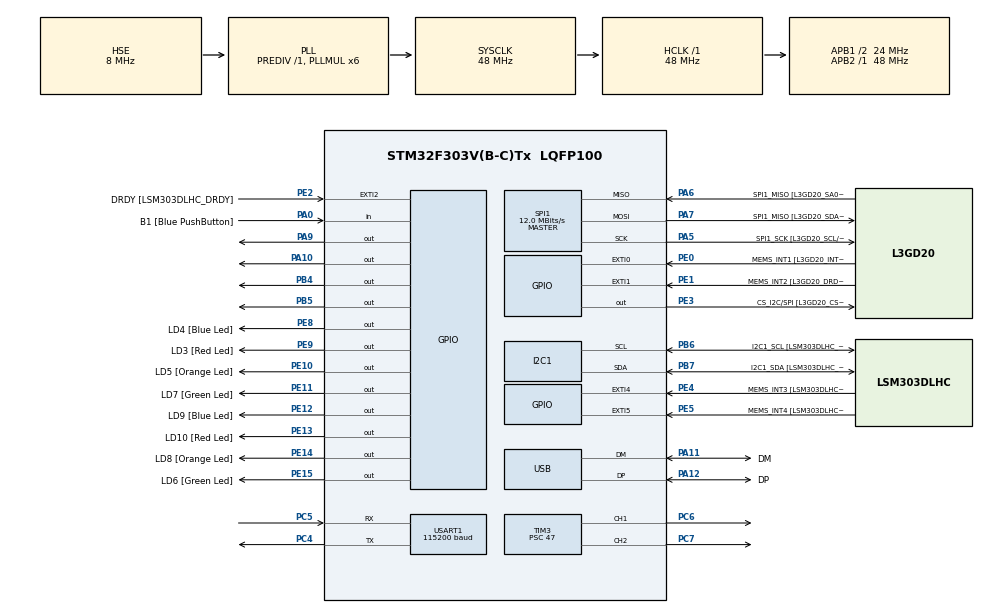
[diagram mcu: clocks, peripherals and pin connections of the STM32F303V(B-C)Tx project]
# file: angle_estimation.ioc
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I2C1.Timing=0x00201D2B
I2C1.Timing-I2C=0x2000090E
Mcu.Family=STM32F3
Mcu.Name=STM32F303V(B-C)Tx
Mcu.Package=LQFP100
NVIC.PriorityGroup=NVIC_PRIORITYGROUP_0
NVIC.TIM2_IRQn=true\:0\:0\:false\:false\:true\:true\:true\:true
PA0.GPIO_Label=B1 [Blue PushButton]
PA0.Signal=GPIO_Input
PA10.Signal=GPIO_Output
PA11.GPIO_Label=DM
PA11.Mode=Device
PA11.Signal=USB_DM
PA12.GPIO_Label=DP
PA12.Mode=Device
PA12.Signal=USB_DP
PA13.GPIO_Label=SWDIO
PA13.Mode=Serial_Wire
PA13.Signal=SYS_JTMS-SWDIO
PA14.GPIO_Label=SWCLK
PA14.Mode=Serial_Wire
PA14.Signal=SYS_JTCK-SWCLK
PA5.GPIO_Label=SPI1_SCK [L3GD20_SCL/SPC]
PA5.Mode=Full_Duplex_Master
PA5.Signal=SPI1_SCK
PA6.GPIO_Label=SPI1_MISO [L3GD20_SA0/SDO]
PA6.Mode=Full_Duplex_Master
PA6.Signal=SPI1_MISO
PA7.GPIO_Label=SPI1_MISO [L3GD20_SDA/SDI/SDO]
PA7.Mode=Full_Duplex_Master
PA7.Signal=SPI1_MOSI
PA9.Signal=GPIO_Output
PB3.GPIO_Label=SWO
PB3.Signal=SYS_JTDO-TRACESWO
PB4.Signal=GPIO_Output
PB5.Signal=GPIO_Output
PB6.GPIO_Label=I2C1_SCL [LSM303DLHC_SCL]
PB6.GPIO_Pu=GPIO_PULLUP
PB6.Mode=I2C
PB6.Signal=I2C1_SCL
PB7.GPIO_Label=I2C1_SDA [LSM303DLHC_SDA]
PB7.GPIO_Pu=GPIO_PULLUP
PB7.Mode=I2C
PB7.Signal=I2C1_SDA
PC14-OSC32_IN.GPIO_Label=OSC32_IN
PC14-OSC32_IN.Signal=RCC_OSC32_IN
PC15-OSC32_OUT.GPIO_Label=OSC32_OUT
PC15-OSC32_OUT.Signal=RCC_OSC32_OUT
PC4.Mode=Asynchronous
PC4.Signal=USART1_TX
PC5.Mode=Asynchronous
PC5.Signal=USART1_RX
PC6.Signal=S_TIM3_CH1
PC7.Signal=S_TIM3_CH2
PE0.GPIO_Label=MEMS_INT1 [L3GD20_INT1]
PE0.GPIO_ModeDefaultEXTI=GPIO_MODE_EVT_RISING
PE0.Signal=GPXTI0
PE1.GPIO_Label=MEMS_INT2 [L3GD20_DRDY/INT2]
PE1.GPIO_ModeDefaultEXTI=GPIO_MODE_EVT_RISING
PE1.Signal=GPXTI1
PE10.GPIO_Label=LD5 [Orange Led]
PE10.Signal=GPIO_Output
PE11.GPIO_Label=LD7 [Green Led]
PE11.Signal=GPIO_Output
PE12.GPIO_Label=LD9 [Blue Led]
PE12.Signal=GPIO_Output
PE13.GPIO_Label=LD10 [Red Led]
PE13.Signal=GPIO_Output
PE14.GPIO_Label=LD8 [Orange Led]
PE14.Signal=GPIO_Output
PE15.GPIO_Label=LD6 [Green Led]
PE15.Signal=GPIO_Output
PE2.GPIO_Label=DRDY [LSM303DLHC_DRDY]
PE2.GPIO_ModeDefaultEXTI=GPIO_MODE_EVT_RISING
PE2.Signal=GPXTI2
PE3.GPIO_Label=CS_I2C/SPI [L3GD20_CS_I2C/SPI]
PE3.Signal=GPIO_Output
PE4.GPIO_Label=MEMS_INT3 [LSM303DLHC_INT1]
PE4.GPIO_ModeDefaultEXTI=GPIO_MODE_EVT_RISING
PE4.Signal=GPXTI4
PE5.GPIO_Label=MEMS_INT4 [LSM303DLHC_INT2]
PE5.GPIO_ModeDefaultEXTI=GPIO_MODE_EVT_RISING
PE5.Signal=GPXTI5
PE8.GPIO_Label=LD4 [Blue Led]
PE8.Signal=GPIO_Output
PE9.GPIO_Label=LD3 [Red Led]
PE9.Signal=GPIO_Output
PF0-OSC_IN.GPIO_Label=OSC_IN
PF0-OSC_IN.Mode=HSE-External-Clock-Source
PF0-OSC_IN.Signal=RCC_OSC_IN
PF1-OSC_OUT.GPIO_Label=OSC_OUT
PF1-OSC_OUT.Signal=RCC_OSC_OUT
ProjectManager.HeapSize=0x200
ProjectManager.StackSize=0x400
ProjectManager.TargetToolchain=CMake
RCC.AHBFreq_Value=48000000
RCC.APB1CLKDivider=RCC_HCLK_DIV2
RCC.APB1Freq_Value=24000000
RCC.APB1TimFreq_Value=48000000
RCC.APB2Freq_Value=48000000
RCC.APB2TimFreq_Value=48000000
RCC.CortexFreq_Value=48000000
RCC.HCLKFreq_Value=48000000
RCC.HSE_VALUE=8000000
RCC.HSI_VALUE=8000000
RCC.LSE_VALUE=32768
RCC.PLLMUL=RCC_PLL_MUL6
RCC.SYSCLKFreq_VALUE=48000000
RCC.SYSCLKSourceVirtual=RCC_SYSCLKSOURCE_PLLCLK
RCC.USBFreq_Value=48000000
SH.S_TIM3_CH1.0=TIM3_CH1,PWM Generation1 CH1
SH.S_TIM3_CH2.0=TIM3_CH2,PWM Generation2 CH2
SPI1.BaudRatePrescaler=SPI_BAUDRATEPRESCALER_4
SPI1.BaudRatePrescaler-Full_Duplex_Master=SPI_BAUDRATEPRESCALER_2
SPI1.CalculateBaudRate=12.0 MBits/s
SPI1.CalculateBaudRate-Full_Duplex_Master=24.0 MBits/s
SPI1.Direction=SPI_DIRECTION_2LINES
SPI1.Mode=SPI_MODE_MASTER
SPI1.Mode-Full_Duplex_Master=SPI_MODE_MASTER
SPI1.VirtualType=VM_MASTER
TIM2.Period=99
TIM2.Prescaler=4799
TIM3.Channel-PWM\ Generation1\ CH1=TIM_CHANNEL_1
TIM3.Channel-PWM\ Generation2\ CH2=TIM_CHANNEL_2
TIM3.Period=999
TIM3.Prescaler=47
USART1.BaudRate=115200
USART1.VirtualMode-Asynchronous=VM_ASYNC
VP_TIM2_VS_ClockSourceINT.Mode=Internal
board=STM32F3DISCOVERY

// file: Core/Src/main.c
///////////////////

/* USER CODE BEGIN Header */
/**
  ******************************************************************************
  * @file           : main.c
  * @brief          : Main program body
  ******************************************************************************
  * @attention
  *
  * Copyright (c) 2025 STMicroelectronics.
  * All rights reserved.
  *
  * This software is licensed under terms that can be found in the LICENSE file
  * in the root directory of this software component.
  * If no LICENSE file comes with this software, it is provided AS-IS.
  *
  ******************************************************************************
  */
/* USER CODE END Header */
#include "main.h"
#include "stm32f3xx_hal_spi.h"
#include <stdio.h>
#include <math.h>
#include <string.h>
#ifndef M_PI
#define M_PI 3.14159265358979323846f
#endif

I2C_HandleTypeDef hi2c1;

SPI_HandleTypeDef hspi1;

TIM_HandleTypeDef htim2;
TIM_HandleTypeDef htim3;

UART_HandleTypeDef huart1;

PCD_HandleTypeDef hpcd_USB_FS;

/* USER CODE BEGIN PV */
#define LSM_A_ADDR_W   (0x32)   // write address (8-bit as per your note)
#define LSM_A_ADDR_R   (0x33)   // read address (8-bit)
#define LSM_A_CTRL1    0x20
#define LSM_A_CTRL4    0x23
#define LSM_A_OUT_X_L  0x28
#define LSM_A_AUTO_INC 0x80
#define LSM_A_G_PER_LSB 0.0039f  // 3.9 mg/LSB

#define GYRO_REG_WHOAMI   0x0F
#define GYRO_REG_CTRL1    0x20
#define GYRO_REG_CTRL4    0x23
#define GYRO_REG_OUT_X_L  0x28
#define GYRO_SPI_READ     0x80
#define GYRO_SPI_AUTO_INC 0x40
#define GYRO_CS_LOW()   HAL_GPIO_WritePin(GPIOE, CS_I2C_SPI_Pin, GPIO_PIN_RESET)
#define GYRO_CS_HIGH()  HAL_GPIO_WritePin(GPIOE, CS_I2C_SPI_Pin, GPIO_PIN_SET)

#define GYRO_CS_LOW()    HAL_GPIO_WritePin(GPIOE, CS_I2C_SPI_Pin, GPIO_PIN_RESET)
#define GYRO_CS_HIGH()   HAL_GPIO_WritePin(GPIOE, CS_I2C_SPI_Pin, GPIO_PIN_SET)

#define GYRO_REG_CTRL1   0x20
#define GYRO_REG_CTRL3   0x22
#define GYRO_REG_CTRL4   0x23
#define GYRO_REG_OUT_X_L 0x28
#define GYRO_SPI_READ     0x80
#define GYRO_SPI_AUTO_INC 0x40
#define GYRO_SENS_245DPS 0.00875f
/* ===== FILTER + PID GLOBALS ===== */
#define DT 0.01f       // 100 Hz loop
#define ALPHA 0.98f    // complementary filter coefficient

float angle_filtered = 0.0f;
float accel_angle = 0.0f;
float gyro_rate = 0.0f;

/* PID gains */
float Kp = 12.0f;
float Ki = 0.35f;
float Kd = 0.8f;

float pid_integral = 0.0f;
float last_error = 0.0f;

float setpoint = 0.5f;   // robot upright position
// Motor pins (your wiring)
#define MOTOR_IN1_GPIO_PORT   GPIOA   // D8 -> PA9
#define MOTOR_IN1_PIN         GPIO_PIN_9

#define MOTOR_IN2_GPIO_PORT   GPIOA   // D12 -> PA10
#define MOTOR_IN2_PIN         GPIO_PIN_10

#define MOTOR_EN_GPIO_PORT    GPIOC   // D10 -> PC6
#define MOTOR_EN_PIN          GPIO_PIN_6

#define MOTOR2_IN1_GPIO_PORT  GPIOB   // D7 -> PB4
#define MOTOR2_IN1_PIN        GPIO_PIN_4
#define MOTOR2_IN2_GPIO_PORT  GPIOB   // D6 -> PB5
#define MOTOR2_IN2_PIN        GPIO_PIN_5
#define MOTOR2_EN_GPIO_PORT   GPIOC   // D9 -> PC7 (TIM3_CH2)
#define MOTOR2_EN_PIN         GPIO_PIN_7

/* simple accel structure */
typedef struct { float ax, ay, az; } accel_t;

accel_t accel_data;
/* USER CODE BEGIN PV */
volatile uint8_t uart_flag = 0;   // Flag set by timer ISR
volatile uint8_t counter = 0;     // Counts timer interrupts
/* USER CODE END PV */

void SystemClock_Config(void);
static void MX_GPIO_Init(void);
static void MX_I2C1_Init(void);
static void MX_SPI1_Init(void);
static void MX_TIM2_Init(void);
static void MX_USART1_UART_Init(void);
static void MX_USB_PCD_Init(void);
static void MX_TIM3_Init(void);
/* USER CODE BEGIN PFP */
HAL_StatusTypeDef LSM_Accel_Init(void);
HAL_StatusTypeDef LSM_Accel_Read(accel_t *m);

// gyro prototypes
uint8_t gyro_read_u8(uint8_t reg);
void gyro_write_u8(uint8_t reg, uint8_t val);
void gyro_init_basic(void);
void motor_forward(void);
void motor_backward(void);
void motor_stop(void);

/* USER CODE END PFP */

int main(void)
{

  /* USER CODE BEGIN 1 */
  // setpoint = angle_filtered;   // set curren                                                  t angle as zero

  /* USER CODE END 1 */

  /* MCU Configuration--------------------------------------------------------*/

  /* Reset of all peripherals, Initializes the Flash interface and the Systick. */
              HAL_Init();

  /* Configure the system clock */
  SystemClock_Config();

  /* Initialize all configured peripherals */
  MX_GPIO_Init();
  MX_I2C1_Init();
  MX_SPI1_Init();
  MX_TIM2_Init();
  MX_USART1_UART_Init();
  MX_USB_PCD_Init();
  MX_TIM3_Init();
  /* USER CODE BEGIN 2 */
  HAL_TIM_PWM_Start(&htim3, TIM_CHANNEL_1);   // Motor 1 EN (PC6)
  HAL_TIM_PWM_Start(&htim3, TIM_CHANNEL_2);   // Motor 2 EN (PC7)

  // Fixed ~60% duty for both motors
  // __HAL_TIM_SET_COMPARE(&htim3, TIM_CHANNEL_1, 600);
  // __HAL_TIM_SET_COMPARE(&htim3, TIM_CHANNEL_2, 600);

  /* USER CODE BEGIN 2 */
if (HAL_I2C_IsDeviceReady(&hi2c1, LSM_A_ADDR_W, 3, 50) == HAL_OK) {
    LSM_Accel_Init();
    printf("Accel initialized\r\n");
} else {
    printf("Accel not present (I2C)\r\n");
}

gyro_init_basic();
printf("Gyro basic init done (WHOAMI=0x%02X)\r\n", gyro_read_u8(GYRO_REG_WHOAMI));

HAL_TIM_Base_Start_IT(&htim2);   // Start TIM2 interrupt at 100Hz
  /* USER CODE END 2 */

  /* Infinite loop */
  while (1)
  {

  }
}

void SystemClock_Config(void)
{
  RCC_OscInitTypeDef RCC_OscInitStruct = {0};
  RCC_ClkInitTypeDef RCC_ClkInitStruct = {0};
  RCC_PeriphCLKInitTypeDef PeriphClkInit = {0};

  /** Initializes the RCC Oscillators according to the specified parameters
  * in the RCC_OscInitTypeDef structure.
  */
  RCC_OscInitStruct.OscillatorType = RCC_OSCILLATORTYPE_HSI|RCC_OSCILLATORTYPE_HSE;
  RCC_OscInitStruct.HSEState = RCC_HSE_BYPASS;
  RCC_OscInitStruct.HSEPredivValue = RCC_HSE_PREDIV_DIV1;
  RCC_OscInitStruct.HSIState = RCC_HSI_ON;
  RCC_OscInitStruct.HSICalibrationValue = RCC_HSICALIBRATION_DEFAULT;
  RCC_OscInitStruct.PLL.PLLState = RCC_PLL_ON;
  RCC_OscInitStruct.PLL.PLLSource = RCC_PLLSOURCE_HSE;
  RCC_OscInitStruct.PLL.PLLMUL = RCC_PLL_MUL6;
  if (HAL_RCC_OscConfig(&RCC_OscInitStruct) != HAL_OK)
  {
    Error_Handler();
  }

  /** Initializes the CPU, AHB and APB buses clocks
  */
  RCC_ClkInitStruct.ClockType = RCC_CLOCKTYPE_HCLK|RCC_CLOCKTYPE_SYSCLK
                              |RCC_CLOCKTYPE_PCLK1|RCC_CLOCKTYPE_PCLK2;
  RCC_ClkInitStruct.SYSCLKSource = RCC_SYSCLKSOURCE_PLLCLK;
  RCC_ClkInitStruct.AHBCLKDivider = RCC_SYSCLK_DIV1;
  RCC_ClkInitStruct.APB1CLKDivider = RCC_HCLK_DIV2;
  RCC_ClkInitStruct.APB2CLKDivider = RCC_HCLK_DIV1;

  if (HAL_RCC_ClockConfig(&RCC_ClkInitStruct, FLASH_LATENCY_1) != HAL_OK)
  {
    Error_Handler();
  }
  PeriphClkInit.PeriphClockSelection = RCC_PERIPHCLK_USB|RCC_PERIPHCLK_USART1
                              |RCC_PERIPHCLK_I2C1;
  PeriphClkInit.Usart1ClockSelection = RCC_USART1CLKSOURCE_PCLK2;
  PeriphClkInit.I2c1ClockSelection = RCC_I2C1CLKSOURCE_HSI;
  PeriphClkInit.USBClockSelection = RCC_USBCLKSOURCE_PLL;
  if (HAL_RCCEx_PeriphCLKConfig(&PeriphClkInit) != HAL_OK)
  {
    Error_Handler();
  }
}

static void MX_I2C1_Init(void)
{

  hi2c1.Instance = I2C1;
  hi2c1.Init.Timing = 0x00201D2B;
  hi2c1.Init.OwnAddress1 = 0;
  hi2c1.Init.AddressingMode = I2C_ADDRESSINGMODE_7BIT;
  hi2c1.Init.DualAddressMode = I2C_DUALADDRESS_DISABLE;
  hi2c1.Init.OwnAddress2 = 0;
  hi2c1.Init.OwnAddress2Masks = I2C_OA2_NOMASK;
  hi2c1.Init.GeneralCallMode = I2C_GENERALCALL_DISABLE;
  hi2c1.Init.NoStretchMode = I2C_NOSTRETCH_DISABLE;
  if (HAL_I2C_Init(&hi2c1) != HAL_OK)
  {
    Error_Handler();
  }

  /** Configure Analogue filter
  */
  if (HAL_I2CEx_ConfigAnalogFilter(&hi2c1, I2C_ANALOGFILTER_ENABLE) != HAL_OK)
  {
    Error_Handler();
  }

  /** Configure Digital filter
  */
  if (HAL_I2CEx_ConfigDigitalFilter(&hi2c1, 0) != HAL_OK)
  {
    Error_Handler();
  }

}

static void MX_SPI1_Init(void)
{

  /* SPI1 parameter configuration*/
  hspi1.Instance = SPI1;
  hspi1.Init.Mode = SPI_MODE_MASTER;
  hspi1.Init.Direction = SPI_DIRECTION_2LINES;
  hspi1.Init.DataSize = SPI_DATASIZE_8BIT;
  hspi1.Init.CLKPolarity = SPI_POLARITY_HIGH;
  hspi1.Init.CLKPhase = SPI_PHASE_2EDGE;
  hspi1.Init.NSS = SPI_NSS_SOFT;
  hspi1.Init.BaudRatePrescaler = SPI_BAUDRATEPRESCALER_16;
  hspi1.Init.FirstBit = SPI_FIRSTBIT_MSB;
  hspi1.Init.TIMode = SPI_TIMODE_DISABLE;
  hspi1.Init.CRCCalculation = SPI_CRCCALCULATION_DISABLE;
  hspi1.Init.CRCPolynomial = 7;
  hspi1.Init.CRCLength = SPI_CRC_LENGTH_DATASIZE;
  hspi1.Init.NSSPMode = SPI_NSS_PULSE_ENABLE;
  if (HAL_SPI_Init(&hspi1) != HAL_OK)
  {
    Error_Handler();
  }

}

static void MX_TIM2_Init(void)
{

  TIM_ClockConfigTypeDef sClockSourceConfig = {0};
  TIM_MasterConfigTypeDef sMasterConfig = {0};

  htim2.Instance = TIM2;
  htim2.Init.Prescaler = 4799;
  htim2.Init.CounterMode = TIM_COUNTERMODE_UP;
  htim2.Init.Period = 99;
  htim2.Init.ClockDivision = TIM_CLOCKDIVISION_DIV1;
  htim2.Init.AutoReloadPreload = TIM_AUTORELOAD_PRELOAD_DISABLE;
  if (HAL_TIM_Base_Init(&htim2) != HAL_OK)
  {
    Error_Handler();
  }
  sClockSourceConfig.ClockSource = TIM_CLOCKSOURCE_INTERNAL;
  if (HAL_TIM_ConfigClockSource(&htim2, &sClockSourceConfig) != HAL_OK)
  {
    Error_Handler();
  }
  sMasterConfig.MasterOutputTrigger = TIM_TRGO_RESET;
  sMasterConfig.MasterSlaveMode = TIM_MASTERSLAVEMODE_DISABLE;
  if (HAL_TIMEx_MasterConfigSynchronization(&htim2, &sMasterConfig) != HAL_OK)
  {
    Error_Handler();
  }

}

static void MX_TIM3_Init(void)
{

  TIM_MasterConfigTypeDef sMasterConfig = {0};
  TIM_OC_InitTypeDef sConfigOC = {0};

  htim3.Instance = TIM3;
  htim3.Init.Prescaler = 47;
  htim3.Init.CounterMode = TIM_COUNTERMODE_UP;
  htim3.Init.Period = 999;
  htim3.Init.ClockDivision = TIM_CLOCKDIVISION_DIV1;
  htim3.Init.AutoReloadPreload = TIM_AUTORELOAD_PRELOAD_DISABLE;
  if (HAL_TIM_PWM_Init(&htim3) != HAL_OK)
  {
    Error_Handler();
  }
  sMasterConfig.MasterOutputTrigger = TIM_TRGO_RESET;
  sMasterConfig.MasterSlaveMode = TIM_MASTERSLAVEMODE_DISABLE;
  if (HAL_TIMEx_MasterConfigSynchronization(&htim3, &sMasterConfig) != HAL_OK)
  {
    Error_Handler();
  }
  sConfigOC.OCMode = TIM_OCMODE_PWM1;
  sConfigOC.Pulse = 0;
  sConfigOC.OCPolarity = TIM_OCPOLARITY_HIGH;
  sConfigOC.OCFastMode = TIM_OCFAST_DISABLE;
  if (HAL_TIM_PWM_ConfigChannel(&htim3, &sConfigOC, TIM_CHANNEL_1) != HAL_OK)
  {
    Error_Handler();
  }
  if (HAL_TIM_PWM_ConfigChannel(&htim3, &sConfigOC, TIM_CHANNEL_2) != HAL_OK)
  {
    Error_Handler();
  }
  HAL_TIM_MspPostInit(&htim3);

}

static void MX_USART1_UART_Init(void)
{

  huart1.Instance = USART1;
  huart1.Init.BaudRate = 115200;
  huart1.Init.WordLength = UART_WORDLENGTH_8B;
  huart1.Init.StopBits = UART_STOPBITS_1;
  huart1.Init.Parity = UART_PARITY_NONE;
  huart1.Init.Mode = UART_MODE_TX_RX;
  huart1.Init.HwFlowCtl = UART_HWCONTROL_NONE;
  huart1.Init.OverSampling = UART_OVERSAMPLING_16;
  huart1.Init.OneBitSampling = UART_ONE_BIT_SAMPLE_DISABLE;
  huart1.AdvancedInit.AdvFeatureInit = UART_ADVFEATURE_NO_INIT;
  if (HAL_UART_Init(&huart1) != HAL_OK)
  {
    Error_Handler();
  }

}

static void MX_USB_PCD_Init(void)
{

  hpcd_USB_FS.Instance = USB;
  hpcd_USB_FS.Init.dev_endpoints = 8;
  hpcd_USB_FS.Init.speed = PCD_SPEED_FULL;
  hpcd_USB_FS.Init.phy_itface = PCD_PHY_EMBEDDED;
  hpcd_USB_FS.Init.low_power_enable = DISABLE;
  hpcd_USB_FS.Init.battery_charging_enable = DISABLE;
  if (HAL_PCD_Init(&hpcd_USB_FS) != HAL_OK)
  {
    Error_Handler();
  }

}

static void MX_GPIO_Init(void)
{
  GPIO_InitTypeDef GPIO_InitStruct = {0};

  /* GPIO Ports Clock Enable */
  __HAL_RCC_GPIOE_CLK_ENABLE();
  __HAL_RCC_GPIOC_CLK_ENABLE();
  __HAL_RCC_GPIOF_CLK_ENABLE();
  __HAL_RCC_GPIOA_CLK_ENABLE();
  __HAL_RCC_GPIOB_CLK_ENABLE();

  /*Configure GPIO pin Output Level */
  HAL_GPIO_WritePin(GPIOE, CS_I2C_SPI_Pin|LD4_Pin|LD3_Pin|LD5_Pin
                          |LD7_Pin|LD9_Pin|LD10_Pin|LD8_Pin
                          |LD6_Pin, GPIO_PIN_RESET);

  /*Configure GPIO pin Output Level */
  HAL_GPIO_WritePin(GPIOA, GPIO_PIN_9|GPIO_PIN_10, GPIO_PIN_RESET);

  /*Configure GPIO pin Output Level */
  HAL_GPIO_WritePin(GPIOB, GPIO_PIN_4|GPIO_PIN_5, GPIO_PIN_RESET);

  /*Configure GPIO pins : DRDY_Pin MEMS_INT3_Pin MEMS_INT4_Pin MEMS_INT1_Pin
                           MEMS_INT2_Pin */
  GPIO_InitStruct.Pin = DRDY_Pin|MEMS_INT3_Pin|MEMS_INT4_Pin|MEMS_INT1_Pin
                          |MEMS_INT2_Pin;
  GPIO_InitStruct.Mode = GPIO_MODE_EVT_RISING;
  GPIO_InitStruct.Pull = GPIO_NOPULL;
  HAL_GPIO_Init(GPIOE, &GPIO_InitStruct);

  /*Configure GPIO pins : CS_I2C_SPI_Pin LD4_Pin LD3_Pin LD5_Pin
                           LD7_Pin LD9_Pin LD10_Pin LD8_Pin
                           LD6_Pin */
  GPIO_InitStruct.Pin = CS_I2C_SPI_Pin|LD4_Pin|LD3_Pin|LD5_Pin
                          |LD7_Pin|LD9_Pin|LD10_Pin|LD8_Pin
                          |LD6_Pin;
  GPIO_InitStruct.Mode = GPIO_MODE_OUTPUT_PP;
  GPIO_InitStruct.Pull = GPIO_NOPULL;
  GPIO_InitStruct.Speed = GPIO_SPEED_FREQ_LOW;
  HAL_GPIO_Init(GPIOE, &GPIO_InitStruct);

  /*Configure GPIO pin : B1_Pin */
  GPIO_InitStruct.Pin = B1_Pin;
  GPIO_InitStruct.Mode = GPIO_MODE_INPUT;
  GPIO_InitStruct.Pull = GPIO_NOPULL;
  HAL_GPIO_Init(B1_GPIO_Port, &GPIO_InitStruct);

  /*Configure GPIO pins : PA9 PA10 */
  GPIO_InitStruct.Pin = GPIO_PIN_9|GPIO_PIN_10;
  GPIO_InitStruct.Mode = GPIO_MODE_OUTPUT_PP;
  GPIO_InitStruct.Pull = GPIO_NOPULL;
  GPIO_InitStruct.Speed = GPIO_SPEED_FREQ_LOW;
  HAL_GPIO_Init(GPIOA, &GPIO_InitStruct);

  /*Configure GPIO pins : PB4 PB5 */
  GPIO_InitStruct.Pin = GPIO_PIN_4|GPIO_PIN_5;
  GPIO_InitStruct.Mode = GPIO_MODE_OUTPUT_PP;
  GPIO_InitStruct.Pull = GPIO_NOPULL;
  GPIO_InitStruct.Speed = GPIO_SPEED_FREQ_LOW;
  HAL_GPIO_Init(GPIOB, &GPIO_InitStruct);

}

/* USER CODE BEGIN 4 */
// void HAL_TIM_PeriodElapsedCallback(TIM_HandleTypeDef *htim)
// {
//     if (htim->Instance == TIM2)
//     {
//         HAL_GPIO_TogglePin(GPIOE, LD6_Pin);  // toggles every 1/100 sec
//     }
// }
// void HAL_TIM_PeriodElapsedCallback(TIM_HandleTypeDef *htim)
// {
//     if(htim->Instance == TIM2)
//     {
//         counter++;               // increment counter each ISR
//         if(counter >= 10)        // for 10 Hz if timer is 100 Hz
//         {
//             uart_flag = 1;       // set flag for main loop
//             counter = 0;         // reset counter
//         }
//     }
// }
/* USER CODE BEGIN 4 */
/* I2C helpers already available via HAL, so use HAL_I2C_Mem_Write/Read */

/* Initialize LSM303AGR accelerometer:
 * CTRL1_A = 0x67 (ODR 200 Hz + all axes on -> per your note)
 * CTRL4_A = 0x00 (±2g normal mode)
 */
HAL_StatusTypeDef LSM_Accel_Init(void)
{
    uint8_t v;
    HAL_StatusTypeDef st;

    v = 0x67; // CTRL1_A: 0x67 => ODR=200Hz, all axes on, normal mode
    st = HAL_I2C_Mem_Write(&hi2c1, LSM_A_ADDR_W, LSM_A_CTRL1, I2C_MEMADD_SIZE_8BIT, &v, 1, 100);
    if (st != HAL_OK) return st;

    v = 0x00; // CTRL4_A: ±2g normal mode, continuous update
    st = HAL_I2C_Mem_Write(&hi2c1, LSM_A_ADDR_W, LSM_A_CTRL4, I2C_MEMADD_SIZE_8BIT, &v, 1, 100);
    if (st != HAL_OK) return st;

    HAL_Delay(10);
    return HAL_OK;
}

/* Read accelerometer, convert to g.
 * Note: device returns left-justified 16-bit values for normal mode (10-bit useful data)
 * we right-shift by 6 to get 10-bit values, then multiply by 0.0039 g/LSB.
 */
HAL_StatusTypeDef LSM_Accel_Read(accel_t *m)
{
    uint8_t buf[6];
    HAL_StatusTypeDef st;

    st = HAL_I2C_Mem_Read(&hi2c1, LSM_A_ADDR_R, (LSM_A_OUT_X_L | LSM_A_AUTO_INC),
                          I2C_MEMADD_SIZE_8BIT, buf, 6, 100);
    if (st != HAL_OK) return st;

    int16_t rx = (int16_t)((buf[1] << 8) | buf[0]); // note order: low then high
    int16_t ry = (int16_t)((buf[3] << 8) | buf[2]);
    int16_t rz = (int16_t)((buf[5] << 8) | buf[4]);

    // right shift by 6 to convert 16-bit left-justified to 10-bit value
    rx = rx >> 6;
    ry = ry >> 6;
    rz = rz >> 6;

    m->ax = ((float)rx) * LSM_A_G_PER_LSB;
    m->ay = ((float)ry) * LSM_A_G_PER_LSB;
    m->az = ((float)rz) * LSM_A_G_PER_LSB;

    return HAL_OK;
}
/* SPI gyro helpers for L3GD20 / I3G4250D style devices */
/* change these registers if your gyro uses different addresses */

// extern void GYRO_CS_LOW(void);  // if you have these macros (from earlier code)
// extern void GYRO_CS_HIGH(void);

 uint8_t gyro_read_u8(uint8_t reg)
{
    uint8_t header = (reg & 0x3F) | GYRO_SPI_READ;
    uint8_t v = 0;
    GYRO_CS_LOW();
    HAL_SPI_Transmit(&hspi1, &header, 1, 100);
    HAL_SPI_Receive(&hspi1, &v, 1, 100);
    GYRO_CS_HIGH();
    return v;
}

 void gyro_write_u8(uint8_t reg, uint8_t val)
{
    uint8_t tx[2] = { reg & 0x3F, val };
    GYRO_CS_LOW();
    HAL_SPI_Transmit(&hspi1, tx, 2, 100);
    GYRO_CS_HIGH();
}

 void gyro_init_basic(void)
{
    uint8_t who = gyro_read_u8(GYRO_REG_WHOAMI);
    printf("WHOAMI = 0x%02X\r\n", who);

    // CTRL1: ODR = 400Hz, BW=110, enable XYZ, power on
    gyro_write_u8(GYRO_REG_CTRL1, 0x4F);

    // CTRL4: ±245 dps
    gyro_write_u8(GYRO_REG_CTRL4, 0x00);

    HAL_Delay(20);
}
void gyro_read_xyz(int16_t *gx, int16_t *gy, int16_t *gz)
{
    uint8_t reg = GYRO_REG_OUT_X_L | GYRO_SPI_READ | GYRO_SPI_AUTO_INC;
    uint8_t buf[6];

    GYRO_CS_LOW();
    HAL_SPI_Transmit(&hspi1, &reg, 1, 100);
    HAL_SPI_Receive(&hspi1, buf, 6, 100);
    GYRO_CS_HIGH();

    *gx = (int16_t)(buf[1] << 8 | buf[0]);
    *gy = (int16_t)(buf[3] << 8 | buf[2]);
    *gz = (int16_t)(buf[5] << 8 | buf[4]);
}
void motor_forward(void)
{
    // MOTOR 1: D8 HIGH, D12 LOW, EN HIGH
    HAL_GPIO_WritePin(MOTOR_IN1_GPIO_PORT, MOTOR_IN1_PIN, GPIO_PIN_SET);
    HAL_GPIO_WritePin(MOTOR_IN2_GPIO_PORT, MOTOR_IN2_PIN, GPIO_PIN_RESET);
    // HAL_GPIO_WritePin(MOTOR_EN_GPIO_PORT, MOTOR_EN_PIN, GPIO_PIN_SET);

    // MOTOR 2: D7 HIGH, D6 LOW, EN HIGH
    HAL_GPIO_WritePin(MOTOR2_IN1_GPIO_PORT, MOTOR2_IN1_PIN, GPIO_PIN_SET);
    HAL_GPIO_WritePin(MOTOR2_IN2_GPIO_PORT, MOTOR2_IN2_PIN, GPIO_PIN_RESET);
    // HAL_GPIO_WritePin(MOTOR2_EN_GPIO_PORT, MOTOR2_EN_PIN, GPIO_PIN_SET);
}

void motor_backward(void)
{
    // MOTOR 1: D8 LOW, D12 HIGH, EN HIGH
    HAL_GPIO_WritePin(MOTOR_IN1_GPIO_PORT, MOTOR_IN1_PIN, GPIO_PIN_RESET);
    HAL_GPIO_WritePin(MOTOR_IN2_GPIO_PORT, MOTOR_IN2_PIN, GPIO_PIN_SET);
    // HAL_GPIO_WritePin(MOTOR_EN_GPIO_PORT, MOTOR_EN_PIN, GPIO_PIN_SET);

    // MOTOR 2: D7 LOW, D6 HIGH, EN HIGH
    HAL_GPIO_WritePin(MOTOR2_IN1_GPIO_PORT, MOTOR2_IN1_PIN, GPIO_PIN_RESET);
    HAL_GPIO_WritePin(MOTOR2_IN2_GPIO_PORT, MOTOR2_IN2_PIN, GPIO_PIN_SET);
    // HAL_GPIO_WritePin(MOTOR2_EN_GPIO_PORT, MOTOR2_EN_PIN, GPIO_PIN_SET);
}

void motor_stop(void)
{
    // MOTOR 1 off
    HAL_GPIO_WritePin(MOTOR_IN1_GPIO_PORT, MOTOR_IN1_PIN, GPIO_PIN_RESET);
    HAL_GPIO_WritePin(MOTOR_IN2_GPIO_PORT, MOTOR_IN2_PIN, GPIO_PIN_RESET);
    HAL_GPIO_WritePin(MOTOR_EN_GPIO_PORT, MOTOR_EN_PIN, GPIO_PIN_RESET);

    // MOTOR 2 off
    HAL_GPIO_WritePin(MOTOR2_IN1_GPIO_PORT, MOTOR2_IN1_PIN, GPIO_PIN_RESET);
    HAL_GPIO_WritePin(MOTOR2_IN2_GPIO_PORT, MOTOR2_IN2_PIN, GPIO_PIN_RESET);
    HAL_GPIO_WritePin(MOTOR2_EN_GPIO_PORT, MOTOR2_EN_PIN, GPIO_PIN_RESET);
}

/* USER CODE BEGIN 4 */
// void HAL_TIM_PeriodElapsedCallback(TIM_HandleTypeDef *htim)
// {
//     if (htim->Instance == TIM2)
//     {
//         // toggle LED so you can probe the pin at 100Hz
//         HAL_GPIO_TogglePin(GPIOE, LD6_Pin);

//         // read accel at 100 Hz
//         if (LSM_Accel_Read(&accel_data) == HAL_OK)
//         {
//             // compute tilt angle around X or Y axis. Example: pitch ≈ atan2(ax, az)
//             float angle_rad = atan2f(accel_data.ax, accel_data.az); // change axes as needed
//             float angle_deg = angle_rad * 180.0f / (float)M_PI;

//             // send via UART (quick print)
//             char buf[64];
//             int n = snprintf(buf, sizeof(buf), "ax=%.3fg ay=%.3fg az=%.3fg angle=%.2f\r\n",
//                              accel_data.ax, accel_data.ay, accel_data.az, angle_deg);
//             HAL_UART_Transmit(&huart1, (uint8_t*)buf, n, HAL_MAX_DELAY);
//         }
//     }
// }

// void HAL_TIM_PeriodElapsedCallback(TIM_HandleTypeDef *htim)
// {
//     if(htim->Instance == TIM2)
//     {
//         counter++;
//         if(counter >= 10)  // 10Hz
//         {
//             counter = 0;

//             int16_t gx_raw, gy_raw, gz_raw;
//             gyro_read_xyz(&gx_raw, &gy_raw, &gz_raw);

//             float gx = gx_raw * GYRO_SENS_245DPS;
//             float gy = gy_raw * GYRO_SENS_245DPS;
//             float gz = gz_raw * GYRO_SENS_245DPS;

//             char buf[64];
//             int n = snprintf(buf, sizeof(buf),
//                              "Gx=%.2f dps  Gy=%.2f dps  Gz=%.2f dps\r\n",
//                              gx, gy, gz);
//             HAL_UART_Transmit(&huart1, (uint8_t*)buf, n, HAL_MAX_DELAY);
//         }
//     }
// }
void HAL_TIM_PeriodElapsedCallback(TIM_HandleTypeDef *htim)
{
    if (htim->Instance == TIM2)
    {
        static uint8_t print_div = 0;   // for 10 Hz printing

        HAL_GPIO_TogglePin(GPIOE, LD6_Pin);   // 100 Hz LED toggle

        // ------------------ 1) ACCEL ------------------
        if (LSM_Accel_Read(&accel_data) == HAL_OK)
        {
            // YOU SAID BOTH ARE Y-AXIS BASED, so use ay
            accel_angle = atan2f(accel_data.ax, accel_data.az) * 180.0f / M_PI;
            static int first_init = 1;
            if (first_init) {
            angle_filtered = accel_angle;  // initialize filter with accel angle
              first_init = 0;
}

        }

        // ------------------ 2) GYRO ------------------
        int16_t gx_raw, gy_raw, gz_raw;
        gyro_read_xyz(&gx_raw, &gy_raw, &gz_raw);

        gyro_rate = gy_raw * GYRO_SENS_245DPS;   // you said Y axis

        // ------------------ 3) COMPLEMENTARY FILTER ------------------
        angle_filtered =
            ALPHA * (angle_filtered + gyro_rate * DT)
          + (1.0f - ALPHA) * accel_angle;

        // ------------------ 4) ANGLE ERROR ------------------
        // your upright is around 0.5° — so we set that as target
        float setpoint = -1.0f;   // you can adjust later
float error = angle_filtered - setpoint;

        // angle deadband for STOP condition
        float deadband_angle = 0.5f;

        // if angle is between 0° and 1° → STOP + reset PID
        if (fabsf(error) < deadband_angle)
        {
            motor_stop();
            pid_integral = 0.0f;
            last_error = 0.0f;
        }
        else
        {
            // clamp angle error to ±8 degrees (your request)
            float max_angle_error = 8.0f;
            if (error >  max_angle_error) error =  max_angle_error;
            if (error < -max_angle_error) error = -max_angle_error;

            // ---- PID ----
            pid_integral += error * DT;
            if (pid_integral > 20)  pid_integral = 20;
if (pid_integral < -20) pid_integral = -20;

            float derivative = (error - last_error) / DT;
            float u = (Kp*error + Ki*pid_integral + Kd*derivative)*14.0f;
            last_error = error;

            // ------------------ 5) MOTOR DIR ------------------
            float u_abs = fabsf(u);
if (u_abs > 999) u_abs = 999;
uint16_t pwm = (uint16_t)u_abs;

// DIRECTION
if (u > 0)
{
    // forward
    HAL_GPIO_WritePin(MOTOR_IN1_GPIO_PORT, MOTOR_IN1_PIN, GPIO_PIN_SET);
    HAL_GPIO_WritePin(MOTOR_IN2_GPIO_PORT, MOTOR_IN2_PIN, GPIO_PIN_RESET);

    HAL_GPIO_WritePin(MOTOR2_IN1_GPIO_PORT, MOTOR2_IN1_PIN, GPIO_PIN_SET);
    HAL_GPIO_WritePin(MOTOR2_IN2_GPIO_PORT, MOTOR2_IN2_PIN, GPIO_PIN_RESET);
}
else
{
    // backward
    HAL_GPIO_WritePin(MOTOR_IN1_GPIO_PORT, MOTOR_IN1_PIN, GPIO_PIN_RESET);
    HAL_GPIO_WritePin(MOTOR_IN2_GPIO_PORT, MOTOR_IN2_PIN, GPIO_PIN_SET);

    HAL_GPIO_WritePin(MOTOR2_IN1_GPIO_PORT, MOTOR2_IN1_PIN, GPIO_PIN_RESET);
    HAL_GPIO_WritePin(MOTOR2_IN2_GPIO_PORT, MOTOR2_IN2_PIN, GPIO_PIN_SET);
}

// SPEED (PWM)
__HAL_TIM_SET_COMPARE(&htim3, TIM_CHANNEL_1, pwm);
__HAL_TIM_SET_COMPARE(&htim3, TIM_CHANNEL_2, pwm);

        }

        // ------------------ 6) PRINT at 10 Hz ------------------
        print_div++;
        if (print_div >= 10)
        {
            print_div = 0;
            char buf[96];
            int n = snprintf(buf, sizeof(buf),
                "angF=%.2f  acc=%.2f  gyro=%.2f  err=%.2f\r\n",
                angle_filtered, accel_angle, gyro_rate, error);
            HAL_UART_Transmit(&huart1, (uint8_t*)buf, n, HAL_MAX_DELAY);
        }
    }
}

int _write(int file, char *data, int len) {
    HAL_UART_Transmit(&huart1, (uint8_t*)data, len, HAL_MAX_DELAY);
    return len;
}

/* USER CODE END 4 */

void Error_Handler(void)
{
  __disable_irq();
  while (1)
  {
  }
}
